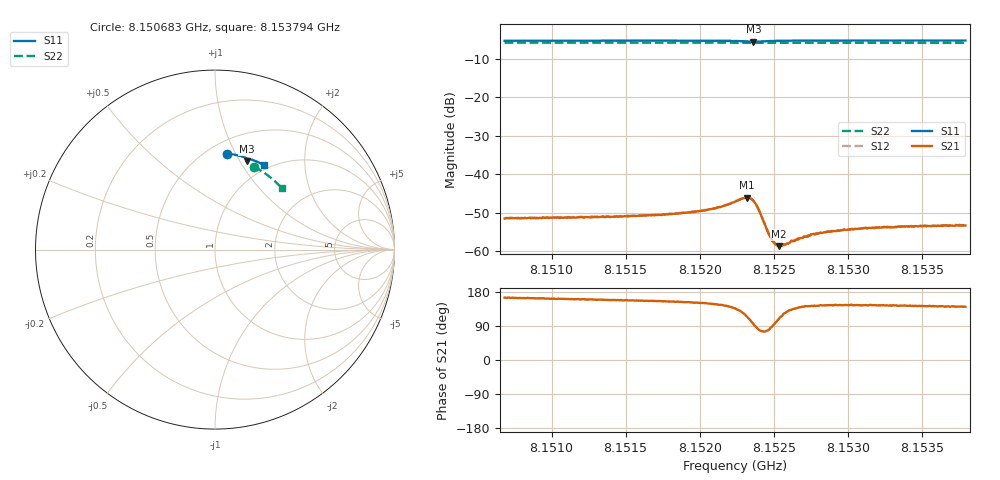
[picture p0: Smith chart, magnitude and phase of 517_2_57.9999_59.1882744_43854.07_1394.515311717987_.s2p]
#  HZ  S  RI  R  50.00
! Rohde & Schwarz Vector Network Analyzer
! Rohde-Schwarz,ZNB20-2Port,1311601062101988,3.16
! Created: UTC 3/21/2024, 1:13:26 AM
! freq[Hz]  re:S11  im:S11  re:S21  im:S21  re:S12  im:S12  re:S22  im:S22
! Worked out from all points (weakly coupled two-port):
!   401 points, 8.150683 GHz to 8.153794 GHz, reference 50 ohm
!   highest |S21| = -46.09 dB at 8.152316 GHz (marker M1); lowest = -58.7 dB at 8.152534 GHz (marker M2)
!   lowest |S11| = -5.6 dB at 8.152363 GHz (marker M3), VSWR 3.20, Z = 39.4 + j53.5 ohm
!   |S11| at or under -10 dB: nowhere
!   |S22| runs from -5.9 to -5.8 dB; largest |S21 - S12| = 0.00012
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8.1506829e9  0.0696 0.5344  -0.00255 0.000706  -0.00258 0.00072  0.2163 0.4618
8.1512041e9  0.1059 0.5293  -0.00259 0.00093  -0.00261 0.000971  0.2458 0.446
8.1517252e9  0.1422 0.5216  -0.00269 0.00122  -0.00268 0.00127  0.2741 0.4283
8.1518963e9  0.1542 0.518  -0.0028 0.00142  -0.00278 0.00149  0.2829 0.4221
8.1520364e9  0.1645 0.5144  -0.00292 0.00168  -0.00295 0.00173  0.2902 0.4169
8.1521375e9  0.1726 0.511  -0.00307 0.00209  -0.00309 0.00217  0.2954 0.413
8.1522386e9  0.1804 0.5047  -0.00317 0.00304  -0.00315 0.00309  0.3006 0.4088
8.1523164e9  0.1823 0.4955  -0.00216 0.00447  -0.00211 0.00452  0.3042 0.4055
8.1523397e9  0.18 0.4931  -0.00134 0.00468  -0.00131 0.00475  0.3052 0.4047
8.1523631e9  0.1768 0.4927  -0.000366 0.00446  -0.000333 0.00451  0.3062 0.4037
8.1523942e9  0.1738 0.4955  0.000519 0.00355  0.000555 0.0036  0.3076 0.4027
8.1524564e9  0.1769 0.5026  0.000403 0.0018  0.000426 0.00181  0.3108 0.4006
8.1524875e9  0.1799 0.5043  5.8e-05 0.0014  6.61e-05 0.00139  0.3122 0.3994
8.1525109e9  0.1825 0.5048  -0.000171 0.00122  -0.000167 0.00122  0.3136 0.3984
8.1525342e9  0.1849 0.5051  -0.000361 0.0011  -0.000388 0.00111  0.3148 0.3976
8.1525653e9  0.1879 0.5049  -0.000642 0.00105  -0.00061 0.00104  0.3163 0.3963
8.152682e9  0.1979 0.5031  -0.00112 0.00097  -0.00111 0.000973  0.3221 0.3916
8.1527598e9  0.2039 0.5014  -0.00132 0.000997  -0.00126 0.00103  0.3258 0.3883
8.1528764e9  0.2122 0.4985  -0.00146 0.00104  -0.00149 0.00104  0.3313 0.3834
8.1530165e9  0.2218 0.4947  -0.00156 0.00108  -0.00155 0.00114  0.3379 0.3773
8.1532809e9  0.2391 0.4874  -0.00164 0.0012  -0.00165 0.00124  0.3499 0.3656
8.1537943e9  0.2711 0.4713  -0.00166 0.00137  -0.00167 0.00141  0.3723 0.3419
